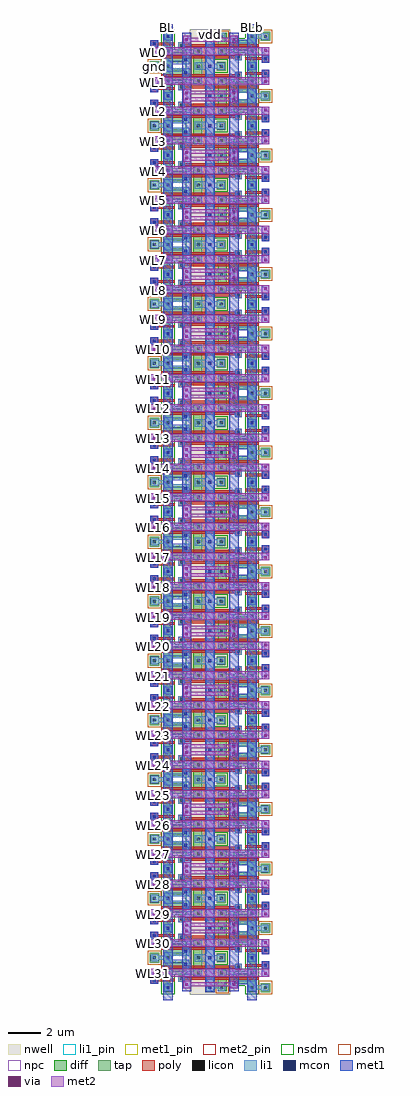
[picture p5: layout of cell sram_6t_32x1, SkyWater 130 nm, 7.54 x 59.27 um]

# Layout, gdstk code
import gdstk
lib = gdstk.Library(unit=1e-6, precision=1e-09)
def R(c, l, rs):  # rectangles x0, y0, x1, y1
    for r in rs: c.add(gdstk.rectangle(r[:2], r[2:], *l))
def A(c, l, x, y, w, h, nx, ny, dx, dy):  # array of equal rectangles
    R(c, l, [(x+i*dx, y+j*dy, x+i*dx+w, y+j*dy+h) for i in range(nx) for j in range(ny)])
nwell = (64, 20)
diff = (65, 20)
tap = (65, 44)
poly = (66, 20)
licon = (66, 44)
li1_pin = (67, 16)
li1 = (67, 20)
mcon = (67, 44)
met1_pin = (68, 16)
met1 = (68, 20)
via = (68, 44)
met2_pin = (69, 16)
met2 = (69, 20)
nsdm = (93, 44)
psdm = (94, 20)
npc = (95, 20)

sram_6t = lib.new_cell('sram_6t')
R(sram_6t, nwell, [(-0.65,-0.65,1.8,2.1)])
R(sram_6t, diff, [(-2.25,-0.41,-1.7,0.1), (2.85,-0.4,3.4,0.15), (-0.45,-0.35,0.1,0.97), (-2.25,0.1,-0.99,0.75), (2.98,0.15,3.4,0.5), (2.85,0.5,3.4,0.8), (1.05,0.58,1.6,1.9), (-2.25,0.75,-1.7,1.05), (2.14,0.8,3.4,1.45), (-2.25,1.05,-1.83,1.4), (-2.25,1.4,-1.7,1.95), (2.85,1.45,3.4,1.95)])
R(sram_6t, tap, [(-3.07,-0.43,-2.52,0.14), (0.97,-0.4,1.52,0.15), (3.67,1.4,4.22,1.96)])
R(sram_6t, poly, [(3.72,0.09,4.17,0.25), (2.1,0.22,2.51,0.35), (2.72,0.25,4.17,0.4), (-2.38,0.35,2.51,0.5), (3.72,0.4,4.17,0.54), (2.1,0.5,2.51,0.63), (-1.36,0.92,-0.95,1.05), (-3.03,1,-2.58,1.15), (-1.36,1.05,3.53,1.2), (-3.03,1.15,-1.57,1.3), (-1.36,1.2,-0.95,1.33), (-3.03,1.3,-2.58,1.45)])
R(sram_6t, licon, [(-2.89,-0.215,-2.72,-0.045), (-2.055,-0.215,-1.885,-0.045), (-0.225,-0.215,-0.055,-0.045), (1.175,-0.215,1.345,-0.045), (3.045,-0.215,3.215,-0.045), (3.86,0.23,4.03,0.4), (2.22,0.34,2.39,0.51), (-2.06,0.69,-1.89,0.86), (-0.21,0.69,-0.04,0.86), (1.19,0.69,1.36,0.86), (3.04,0.69,3.21,0.86), (-1.24,1.04,-1.07,1.21), (-2.89,1.14,-2.72,1.31), (-2.06,1.59,-1.89,1.76), (1.19,1.59,1.36,1.76), (3.04,1.59,3.21,1.76), (3.86,1.59,4.03,1.76)])
R(sram_6t, li1, [(-2.2,-0.36,-1.75,-0.26), (-3.02,-0.35,-2.58,-0.26), (-0.35,-0.35,0.1,-0.2), (0.35,-0.35,0.8,-0.24), (2.9,-0.35,3.35,0.1), (1.05,-0.34,1.46,-0.24), (-3.02,-0.26,-1.75,-0.01), (0.35,-0.24,1.46,-0.2), (-0.35,-0.2,1.46,0.02), (-3.02,-0.01,-2.58,0.08), (-2.2,-0.01,-1.75,0), (-2.2,0,-0.67,0.21), (-0.35,0.02,0.8,0.1), (1.05,0.02,1.46,0.08), (3.72,0.09,4.17,0.54), (0.35,0.1,0.8,0.2), (0.35,0.2,0.79,1.35), (-1.12,0.21,-0.67,0.49), (2.1,0.22,2.51,0.66), (-2.2,0.55,-1.75,0.66), (-0.35,0.55,0.1,0.66), (2.9,0.55,3.35,0.66), (1.05,0.58,1.5,0.66), (-2.2,0.66,0.1,0.9), (1.05,0.66,3.35,0.9), (-2.2,0.9,-1.75,1), (-1.36,0.9,-0.95,1.33), (-0.35,0.9,0.1,0.97), (1.05,0.9,1.5,1), (2.9,0.9,3.35,1), (-3.03,1.01,-2.58,1.45), (1.8,1.26,3.35,1.48), (0.35,1.35,1.5,1.73), (-2.2,1.45,-1.75,1.9), (3.73,1.47,4.15,1.54), (1.8,1.48,2.3,1.71), (2.9,1.48,3.35,1.54), (2.9,1.54,4.15,1.82), (0.35,1.73,0.8,1.89), (1.05,1.73,1.5,1.9), (2.9,1.82,3.35,1.9), (3.73,1.82,4.15,1.88)])
R(sram_6t, mcon, [(0.475,-0.215,0.645,-0.045), (3.045,-0.215,3.215,-0.045), (-0.975,0.175,-0.805,0.345), (3.86,0.23,4.03,0.4), (-2.89,1.14,-2.72,1.31), (1.94,1.295,2.11,1.465), (-2.06,1.59,-1.89,1.76), (0.48,1.59,0.65,1.76)])
R(sram_6t, met1, [(2.83,-0.93,3.4,2.43), (-2.26,-0.92,-1.7,2.43), (0.3,-0.58,0.85,1.95), (1.74,-0.48,2.33,1.91), (-1.12,-0.46,-0.55,1.91), (3.71,0.08,4.17,1.01), (-3.03,0.53,-2.57,1), (-3.04,1,-2.57,1.01), (-3.04,1.01,-2.58,1.45)])
R(sram_6t, via, [(-2.88,0.65,-2.73,0.8), (3.87,0.74,4.02,0.89), (1.945,1.415,2.095,1.565), (-0.915,1.425,-0.765,1.575)])
R(sram_6t, met2, [(-3.03,0.53,4.17,1.01), (1.8,1.26,2.25,1.35), (-1.06,1.27,-0.6,1.35), (-1.06,1.35,2.25,1.58), (-1.06,1.58,-0.6,1.72), (1.8,1.58,2.25,1.71)])
R(sram_6t, nsdm, [(-2.375,-0.535,-1.575,-0.025), (0.845,-0.525,1.645,0.275), (2.725,-0.525,3.525,0.675), (-2.375,-0.025,-0.865,0.875), (2.015,0.675,3.525,1.575), (-2.375,0.875,-1.575,2.075), (2.725,1.575,3.525,2.075)])
R(sram_6t, psdm, [(-3.195,-0.555,-2.395,0.265), (-0.575,-0.475,0.225,1.095), (0.925,0.455,1.725,2.025), (3.545,1.275,4.345,2.085)])
R(sram_6t, npc, [(3.76,0.13,4.13,0.5), (2.12,0.24,2.49,0.61), (-1.34,0.94,-0.97,1.31), (-2.99,1.04,-2.62,1.41)])
sram_6t.add(gdstk.Label('Q', (-1.16,1.29), layer=67, texttype=5))
sram_6t.add(gdstk.Label('Qb', (2.36,0.26), layer=67, texttype=5))
sram_6t.add(gdstk.Label('BL', (-1.97,2.12), layer=68, texttype=5))
sram_6t.add(gdstk.Label('BLb', (3.12,-0.68), layer=68, texttype=5))
sram_6t.add(gdstk.Label('gnd', (-2.65,0.02), layer=67, texttype=5))
sram_6t.add(gdstk.Label('vdd', (0.51,-0.49), layer=68, texttype=5))
sram_6t.add(gdstk.Label('WL', (-2.78,0.76), layer=69, texttype=5))

sram_6t_32x1 = lib.new_cell('sram_6t_32x1')
R(sram_6t_32x1, li1_pin, [(0.21,0.73,0.37,0.84)])
R(sram_6t_32x1, li1, [(0.1,0.63,0.44,0.96)])
R(sram_6t_32x1, met1_pin, [(3.47,2.59,3.83,2.82), (1.01,3.1,1.17,3.2), (6.12,3.1,6.28,3.2)])
R(sram_6t_32x1, met1, [(3.47,2.59,3.83,2.82), (0.88,2.92,1.3,3.23), (5.97,2.98,6.39,3.29)])
R(sram_6t_32x1, met2_pin, [(0.17,-54.37,0.28,-54.26), (0.17,-52.56,0.28,-52.45), (0.17,-50.76,0.28,-50.65), (0.17,-48.95,0.28,-48.84), (0.17,-47.15,0.28,-47.04), (0.17,-45.34,0.28,-45.23), (0.17,-43.54,0.28,-43.43), (0.17,-41.73,0.28,-41.62), (0.17,-39.93,0.28,-39.82), (0.17,-38.12,0.28,-38.01), (0.17,-36.32,0.28,-36.21), (0.17,-34.51,0.28,-34.4), (0.17,-32.71,0.28,-32.6), (0.17,-30.9,0.28,-30.79), (0.17,-29.1,0.28,-28.99), (0.17,-27.29,0.28,-27.18), (0.17,-25.49,0.28,-25.38), (0.17,-23.68,0.28,-23.57), (0.17,-21.88,0.28,-21.77), (0.17,-20.07,0.28,-19.96), (0.17,-18.27,0.28,-18.16), (0.17,-16.46,0.28,-16.35), (0.17,-14.66,0.28,-14.55), (0.17,-12.85,0.28,-12.74), (0.17,-11.05,0.28,-10.94), (0.17,-9.24,0.28,-9.13), (0.17,-7.44,0.28,-7.33), (0.17,-5.63,0.28,-5.52), (0.17,-3.83,0.28,-3.72), (0.17,-2.02,0.28,-1.91), (0.17,-0.22,0.28,-0.11), (0.17,1.59,0.28,1.7)])
R(sram_6t_32x1, met2, [(0.17,-54.37,0.39,-54.15), (0.17,-52.56,0.39,-52.34), (0.17,-50.76,0.39,-50.54), (0.17,-48.95,0.39,-48.73), (0.17,-47.15,0.39,-46.93), (0.17,-45.34,0.39,-45.12), (0.17,-43.54,0.39,-43.32), (0.17,-41.73,0.39,-41.51), (0.17,-39.93,0.39,-39.71), (0.17,-38.12,0.39,-37.9), (0.17,-36.32,0.39,-36.1), (0.17,-34.51,0.39,-34.29), (0.17,-32.71,0.39,-32.49), (0.17,-30.9,0.39,-30.68), (0.17,-29.1,0.39,-28.88), (0.17,-27.29,0.39,-27.07), (0.17,-25.49,0.39,-25.27), (0.17,-23.68,0.39,-23.46), (0.17,-21.88,0.39,-21.66), (0.17,-20.07,0.39,-19.85), (0.17,-18.27,0.39,-18.05), (0.17,-16.46,0.39,-16.24), (0.17,-14.66,0.39,-14.44), (0.17,-12.85,0.39,-12.63), (0.17,-11.05,0.39,-10.83), (0.17,-9.24,0.39,-9.02), (0.17,-7.44,0.39,-7.22), (0.17,-5.63,0.39,-5.41), (0.17,-3.83,0.39,-3.61), (0.17,-2.02,0.39,-1.8), (0.17,-0.22,0.39,0), (0.17,1.59,0.39,1.81)])
A(sram_6t_32x1, nsdm, 1.495, -53.455, 0.71, 0.21, 1, 16, 0, 3.61)
A(sram_6t_32x1, nsdm, 5.085, -51.645, 0.71, 0.2, 1, 15, 0, 3.61)
sram_6t_32x1.add(gdstk.Reference(sram_6t, (3.07,-53.22)))
sram_6t_32x1.add(gdstk.Reference(sram_6t, (3.07,-53.48), x_reflection=True))
sram_6t_32x1.add(gdstk.Reference(sram_6t, (3.07,-49.61)))
sram_6t_32x1.add(gdstk.Reference(sram_6t, (3.07,-49.87), x_reflection=True))
sram_6t_32x1.add(gdstk.Reference(sram_6t, (3.07,-46)))
sram_6t_32x1.add(gdstk.Reference(sram_6t, (3.07,-46.26), x_reflection=True))
sram_6t_32x1.add(gdstk.Reference(sram_6t, (3.07,-42.39)))
sram_6t_32x1.add(gdstk.Reference(sram_6t, (3.07,-42.65), x_reflection=True))
sram_6t_32x1.add(gdstk.Reference(sram_6t, (3.07,-38.78)))
sram_6t_32x1.add(gdstk.Reference(sram_6t, (3.07,-39.04), x_reflection=True))
sram_6t_32x1.add(gdstk.Reference(sram_6t, (3.07,-35.17)))
sram_6t_32x1.add(gdstk.Reference(sram_6t, (3.07,-35.43), x_reflection=True))
sram_6t_32x1.add(gdstk.Reference(sram_6t, (3.07,-31.56)))
sram_6t_32x1.add(gdstk.Reference(sram_6t, (3.07,-31.82), x_reflection=True))
sram_6t_32x1.add(gdstk.Reference(sram_6t, (3.07,-28.21), x_reflection=True))
sram_6t_32x1.add(gdstk.Reference(sram_6t, (3.07,-24.6), x_reflection=True))
sram_6t_32x1.add(gdstk.Reference(sram_6t, (3.07,-27.95)))
sram_6t_32x1.add(gdstk.Reference(sram_6t, (3.07,-20.99), x_reflection=True))
sram_6t_32x1.add(gdstk.Reference(sram_6t, (3.07,-24.34)))
sram_6t_32x1.add(gdstk.Reference(sram_6t, (3.07,-17.38), x_reflection=True))
sram_6t_32x1.add(gdstk.Reference(sram_6t, (3.07,-20.73)))
sram_6t_32x1.add(gdstk.Reference(sram_6t, (3.07,-13.77), x_reflection=True))
sram_6t_32x1.add(gdstk.Reference(sram_6t, (3.07,-17.12)))
sram_6t_32x1.add(gdstk.Reference(sram_6t, (3.07,-10.16), x_reflection=True))
sram_6t_32x1.add(gdstk.Reference(sram_6t, (3.07,-13.51)))
sram_6t_32x1.add(gdstk.Reference(sram_6t, (3.07,-6.55), x_reflection=True))
sram_6t_32x1.add(gdstk.Reference(sram_6t, (3.07,-9.9)))
sram_6t_32x1.add(gdstk.Reference(sram_6t, (3.07,-6.29)))
sram_6t_32x1.add(gdstk.Reference(sram_6t, (3.07,-2.68)))
sram_6t_32x1.add(gdstk.Reference(sram_6t, (3.07,-2.94), x_reflection=True))
sram_6t_32x1.add(gdstk.Reference(sram_6t, (3.07,0.93)))
sram_6t_32x1.add(gdstk.Reference(sram_6t, (3.07,0.67), x_reflection=True))
sram_6t_32x1.add(gdstk.Label('WL0', (0.225,1.645), layer=69, texttype=5))
sram_6t_32x1.add(gdstk.Label('WL1', (0.225,-0.165), layer=69, texttype=5))
sram_6t_32x1.add(gdstk.Label('WL2', (0.225,-1.965), layer=69, texttype=5))
sram_6t_32x1.add(gdstk.Label('WL3', (0.225,-3.775), layer=69, texttype=5))
sram_6t_32x1.add(gdstk.Label('WL4', (0.225,-5.575), layer=69, texttype=5))
sram_6t_32x1.add(gdstk.Label('WL5', (0.225,-7.385), layer=69, texttype=5))
sram_6t_32x1.add(gdstk.Label('WL6', (0.225,-9.185), layer=69, texttype=5))
sram_6t_32x1.add(gdstk.Label('WL7', (0.225,-10.995), layer=69, texttype=5))
sram_6t_32x1.add(gdstk.Label('WL8', (0.225,-12.795), layer=69, texttype=5))
sram_6t_32x1.add(gdstk.Label('WL9', (0.225,-14.605), layer=69, texttype=5))
sram_6t_32x1.add(gdstk.Label('WL10', (0.225,-16.405), layer=69, texttype=5))
sram_6t_32x1.add(gdstk.Label('WL11', (0.225,-18.215), layer=69, texttype=5))
sram_6t_32x1.add(gdstk.Label('WL12', (0.225,-20.015), layer=69, texttype=5))
sram_6t_32x1.add(gdstk.Label('WL13', (0.225,-21.825), layer=69, texttype=5))
sram_6t_32x1.add(gdstk.Label('WL14', (0.225,-23.625), layer=69, texttype=5))
sram_6t_32x1.add(gdstk.Label('WL15', (0.225,-25.435), layer=69, texttype=5))
sram_6t_32x1.add(gdstk.Label('WL16', (0.225,-27.235), layer=69, texttype=5))
sram_6t_32x1.add(gdstk.Label('WL17', (0.225,-29.045), layer=69, texttype=5))
sram_6t_32x1.add(gdstk.Label('WL18', (0.225,-30.845), layer=69, texttype=5))
sram_6t_32x1.add(gdstk.Label('WL19', (0.225,-32.655), layer=69, texttype=5))
sram_6t_32x1.add(gdstk.Label('WL20', (0.225,-34.455), layer=69, texttype=5))
sram_6t_32x1.add(gdstk.Label('WL21', (0.225,-36.265), layer=69, texttype=5))
sram_6t_32x1.add(gdstk.Label('WL22', (0.225,-38.065), layer=69, texttype=5))
sram_6t_32x1.add(gdstk.Label('WL23', (0.225,-39.875), layer=69, texttype=5))
sram_6t_32x1.add(gdstk.Label('WL24', (0.225,-41.675), layer=69, texttype=5))
sram_6t_32x1.add(gdstk.Label('WL25', (0.225,-43.485), layer=69, texttype=5))
sram_6t_32x1.add(gdstk.Label('WL26', (0.225,-45.285), layer=69, texttype=5))
sram_6t_32x1.add(gdstk.Label('WL27', (0.225,-47.095), layer=69, texttype=5))
sram_6t_32x1.add(gdstk.Label('WL28', (0.225,-48.895), layer=69, texttype=5))
sram_6t_32x1.add(gdstk.Label('WL29', (0.225,-50.705), layer=69, texttype=5))
sram_6t_32x1.add(gdstk.Label('WL30', (0.225,-52.505), layer=69, texttype=5))
sram_6t_32x1.add(gdstk.Label('WL31', (0.225,-54.315), layer=69, texttype=5))
sram_6t_32x1.add(gdstk.Label('BLb', (6.2,3.15), layer=68, texttype=5))
sram_6t_32x1.add(gdstk.Label('BL', (1.09,3.15), layer=68, texttype=5))
sram_6t_32x1.add(gdstk.Label('gnd', (0.29,0.785), layer=67, texttype=5))
sram_6t_32x1.add(gdstk.Label('vdd', (3.65,2.705), layer=68, texttype=5))

lib.write_gds('sram_6t_32x1.gds')
